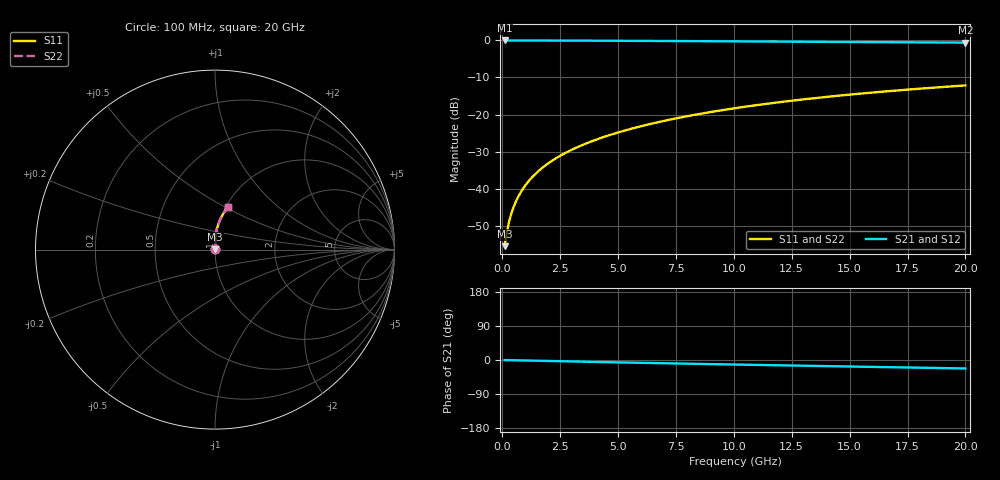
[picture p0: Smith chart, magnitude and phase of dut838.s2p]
! Touchstone file exported from HFSS 2024.1.0
!  File:  C:/UserFiles/LocalFiles/RDL_TSV_Batchsim/temp_RDL_bottom_838_1779863540.aedt
!  Generated:  02:35:11 PM May 27, 2026
!  Design:  RDL_bottom
!  Project:  temp_RDL_bottom_838_1779863540
!  Setup:  Setup1
!  Solution:  Sweep
! Variables:
!  dtsv = 10.80580581um
!  hbump = 3um
!  htsv = 79.31um
!  ldown = 265.08um
!  lrdl = 100um
!  p = 40
!  p1 = 59.27um
!  rhole = 1um
!  t = 450um
!  tdown = 4.01um
!  trdl = 3.915915916um
!  wdown = 23.38um
!  wrdl = 20um
# GHz S MA R 50.000000
! Terminal data exported
! Port[1] = RDL1_T1
! Port[2] = RDL1_T2
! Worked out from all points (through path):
!   200 points, 100 MHz to 20 GHz, reference 50 ohm
!   highest |S21| = -0.01 dB at 100 MHz (marker M1); lowest = -0.6 dB at 20 GHz (marker M2)
!   group delay of S21, straight-line fit = 3.06 ps
!   lowest |S11| = -55.5 dB at 100 MHz (marker M3), VSWR 1.00, Z = 50.1 + j0.118 ohm
!   |S11| at or under -10 dB: start of sweep to end of sweep
!   |S22| runs from -55.5 to -12.1 dB; largest |S21 - S12| = 3.3e-15
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0.1  0.001679 44.6  0.9988 -0.1  0.9988 -0.1  0.001679 44.6
! Gamma 0 0 0 0
! Port Impedance 50 0 50 0
0.2  0.002639 61.7  0.9987 -0.3  0.9987 -0.3  0.002639 61.7
0.3  0.003673 69.2  0.9986 -0.4  0.9986 -0.4  0.003673 69.2
0.4  0.004722 73.4  0.9986 -0.5  0.9986 -0.5  0.004722 73.4
0.5  0.005776 76.3  0.9985 -0.7  0.9985 -0.7  0.005776 76.3
0.6  0.006838 78.3  0.9984 -0.8  0.9984 -0.8  0.006838 78.3
0.8  0.008979 81.0  0.9983 -1.1  0.9983 -1.1  0.008979 81.0
1.1  0.01223 83.4  0.998 -1.4  0.998 -1.4  0.01223 83.4
1.5  0.01661 85.3  0.9975 -2.0  0.9975 -2.0  0.01661 85.3
1.8  0.01993 86.1  0.997 -2.3  0.997 -2.3  0.01993 86.1
2.1  0.02329 86.8  0.9965 -2.7  0.9965 -2.7  0.02329 86.8
2.7  0.03008 87.6  0.9953 -3.5  0.9953 -3.5  0.03008 87.6
3.5  0.03934 88.1  0.9933 -4.5  0.9933 -4.5  0.03934 88.1
4.2  0.04763 88.3  0.9913 -5.3  0.9913 -5.3  0.04763 88.3
5  0.05732 88.2  0.9888 -6.3  0.9888 -6.3  0.05732 88.2
5.9  0.06847 87.9  0.9858 -7.4  0.9858 -7.4  0.06847 87.9
6.8  0.07984 87.3  0.9827 -8.4  0.9827 -8.4  0.07984 87.3
8.4  0.1004 86.0  0.9771 -10.2  0.9771 -10.2  0.1004 86.0
10.1  0.1226 84.3  0.971 -12.1  0.971 -12.1  0.1226 84.3
13.4  0.1654 80.6  0.9592 -15.6  0.9592 -15.6  0.1654 80.6
16.7  0.2071 76.8  0.947 -19.0  0.947 -19.0  0.2071 76.8
20  0.2472 73.0  0.9344 -22.3  0.9344 -22.3  0.2472 73.0
